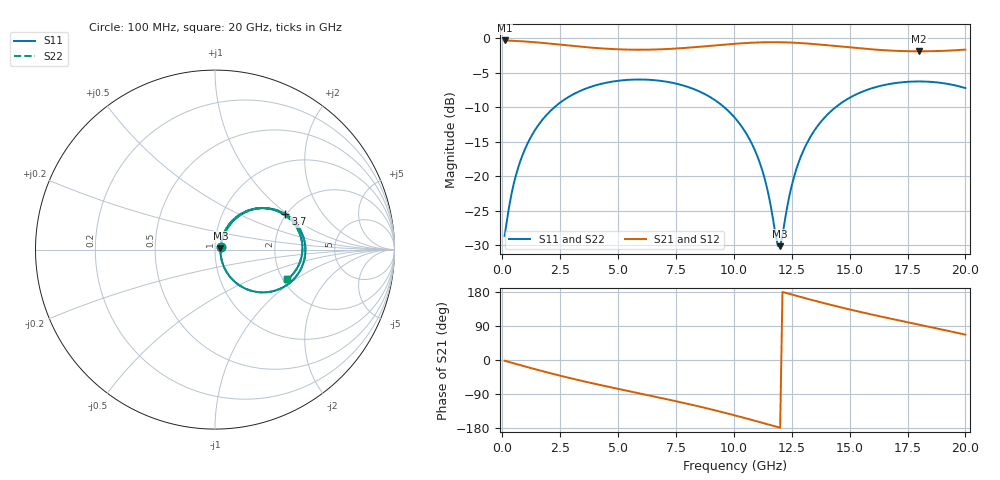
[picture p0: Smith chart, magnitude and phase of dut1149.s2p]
! Touchstone file exported from HFSS 2026.1.0
!  File:  C:/ffzhzh/LocalFiles/Ansys_Project_Files/temp_train_TSV_RDL_1149_1783310525_39728.aedt
!  Generated:  12:18:10 PM Jul  6, 2026
!  Design:  TSV_RDL
!  Project:  temp_train_TSV_RDL_1149_1783310525_39728
! Variables:
!  h_bsmrdl = 4.69um
!  h_ox = 20um
!  h_rdl = 5um
!  h_sub = 91.47um
!  h_tmrdl = 2.72um
!  h_tsv = 91.47um
!  h_via = 3um
!  l_bsmrdl = 610.61um
!  l_sub = 4932.35um
!  l_tmrdl = 651.19um
!  m_sub = 200um
!  pitch = 34.51um
!  r_tsv = 4.36um
!  s_tmrdl = 10um
!  w_bsmrdl = 14.91um
!  w_sub = 500um
!  w_tmrdl = 17.01um
!  x_tsv_center1 = 659.695um
!  x_tsv_center2 = 1285.215um
!  x_tsv_center3 = 1953.415um
!  x_tsv_center4 = 2578.935um
!  x_tsv_center5 = 3247.135um
!  x_tsv_center6 = 3872.655um
# GHz S MA R 50.000000
! Terminal data exported
! Port[1] = TM_RDL1_1_T1
! Port[2] = TM_RDL5_1_T1
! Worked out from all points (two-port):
!   200 points, 100 MHz to 20 GHz, reference 50 ohm
!   highest |S21| = -0.29 dB at 100 MHz (marker M1); lowest = -1.9 dB at 18 GHz (marker M2)
!   |S21| within 3 dB of the highest: start of sweep to end of sweep
!   lowest |S11| = -30.2 dB at 12 GHz (marker M3), VSWR 1.06, Z = 53.1 + j0.676 ohm
!   |S11| at or under -10 dB: start of sweep to 2.247 GHz; 9.591 GHz to 14.39 GHz (4.798 GHz wide, 40 % of centre)
!   |S22| runs from -30.2 to -6.0 dB; largest |S21 - S12| = 1.6e-14
!   S11 on the Smith chart (normalised r, x): 100 MHz: 1.07, +0.03; 3.7 GHz: 1.97, +0.96; 20 GHz: 2.11, -0.86
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0.1  0.03682 26.0  0.9673 -1.8  0.9673 -1.8  0.03682 26.0
! Gamma 0 0 0 0
! Port Impedance 50 0 50 0
0.4  0.07469 54.9  0.9628 -7.1  0.9628 -7.1  0.07469 54.9
0.6  0.1032 58.9  0.9591 -10.6  0.9591 -10.6  0.1032 58.9
1.2  0.1877 57.7  0.9449 -20.7  0.9449 -20.7  0.1877 57.7
2.2  0.3112 46.3  0.9126 -36.8  0.9126 -36.8  0.3112 46.3
3.5  0.4256 29.4  0.868 -56.0  0.868 -56.0  0.4256 29.3
3.7  0.4384 26.8  0.862 -58.8  0.862 -58.8  0.4384 26.8
5.3  0.4989 6.9  0.8311 -80.0  0.8311 -80.0  0.4989 6.9
6.8  0.4934 -11.4  0.8337 -99.4  0.8337 -99.4  0.4934 -11.4
8.6  0.406 -34.2  0.8728 -124.1  0.8728 -124.1  0.406 -34.2
10.1  0.2588 -53.8  0.9168 -147.0  0.9168 -147.0  0.2588 -53.9
10.7  0.1825 -60.5  0.9303 -156.8  0.9303 -156.8  0.1825 -60.5
11.1  0.1281 -62.8  0.9363 -163.5  0.9363 -163.5  0.128 -62.9
11.5  0.07321 -58.6  0.9395 -170.3  0.9395 -170.3  0.07314 -58.7
11.9  0.03124 -13.9  0.9395 -177.1  0.9395 -177.1  0.03109 -14.0
12  0.03106 11.8  0.939 -178.8  0.939 -178.8  0.03092 11.9
12.6  0.09902 61.2  0.9318 171.1  0.9318 171.1  0.09898 61.3
13.4  0.2048 57.8  0.913 157.9  0.913 157.9  0.2048 57.8
14.8  0.3544 40.7  0.8677 136.3  0.8677 136.3  0.3543 40.7
16.7  0.4666 17.1  0.8179 110.1  0.8179 110.1  0.4665 17.1
18  0.4876 1.6  0.8067 93.2  0.8067 93.2  0.4876 1.6
20  0.436 -22.3  0.83 66.9  0.83 66.9  0.436 -22.3
